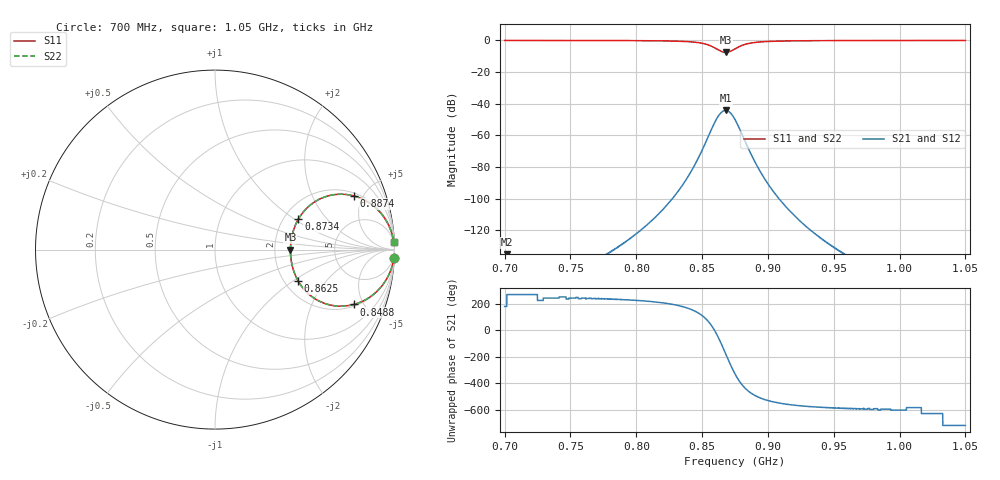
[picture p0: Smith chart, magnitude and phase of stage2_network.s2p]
! Hairpin BPF N=5 fc=868MHz BW=10MHz FR4 — Stage 2 circuit model
! Generated by stage2_final.py
# Hz S RI R 50
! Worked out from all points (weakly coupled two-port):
!   2801 points, 700 MHz to 1.05 GHz, reference 50 ohm
!   highest |S21| = -44.23 dB at 867.9 MHz (marker M1); lowest = -160.0 dB at 701.8 MHz (marker M2)
!   lowest |S11| = -7.5 dB at 868 MHz (marker M3), VSWR 2.45, Z = 123 + j0.00176 ohm
!   |S11| at or under -10 dB: nowhere
!   |S22| runs from -7.5 to 0.0 dB; largest |S21 - S12| = 0
!   S11 on the Smith chart (normalised r, x): 700 MHz: 3, -44; 848.8 MHz: 2.13, -4.24; 862.5 MHz: 2.37, -1.10; 873.4 MHz: 2.39, +1.08; 887.4 MHz: 2.22, +4.27; 1.05 GHz: 4, +49
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7e8  0.9963 -0.0453  -0 -0  -0 -0  0.9963 -0.0453
7.0175e8  0.9963 -0.0459  -0 -1e-08  -0 -1e-08  0.9963 -0.0459
7.58375e8  0.991 -0.0748  -3e-08 -5e-08  -3e-08 -5e-08  0.991 -0.0748
8.1675e8  0.9586 -0.1594  -2.74e-06 -1.67e-06  -2.74e-06 -1.67e-06  0.9586 -0.1594
8.42375e8  0.8542 -0.2702  -7.38e-05 3.5e-05  -7.38e-05 3.5e-05  0.8542 -0.2702
8.4475e8  0.8296 -0.2842  -9.94e-05 7.31e-05  -9.94e-05 7.31e-05  0.8296 -0.2842
8.4875e8  0.7746 -0.3053  -0.000132 0.000227  -0.000132 0.000227  0.7746 -0.3053
8.5625e8  0.6115 -0.3001  0.000864 0.000953  0.000864 0.000953  0.6115 -0.3001
8.625e8  0.4637 -0.1755  0.00221 -0.00354  0.00221 -0.00354  0.4637 -0.1755
8.6525e8  0.4303 -0.0898  -0.00257 -0.00497  -0.00257 -0.00497  0.4303 -0.0898
8.67875e8  0.4203 -0.00409  -0.00613 -0.000307  -0.00613 -0.000307  0.4203 -0.00409
8.68e8  0.4204 5.9e-06  -0.00614 4.4e-07  -0.00614 4.4e-07  0.4204 5.9e-06
8.70625e8  0.431 0.0854  -0.00279 0.00477  -0.00279 0.00477  0.431 0.0854
8.73375e8  0.4647 0.1701  0.00196 0.00359  0.00196 0.00359  0.4647 0.1701
8.75e8  0.4957 0.2139  0.00275 0.00157  0.00275 0.00157  0.4957 0.2139
8.80375e8  0.6295 0.299  0.000645 -0.00085  0.000645 -0.00085  0.6295 0.299
8.87375e8  0.775 0.2987  -0.00011 -0.000219  -0.00011 -0.000219  0.775 0.2987
8.91125e8  0.8256 0.2797  -9.06e-05 -8.05e-05  -9.06e-05 -8.05e-05  0.8256 0.2797
8.93625e8  0.8513 0.2656  -6.8e-05 -3.96e-05  -6.8e-05 -3.96e-05  0.8513 0.2656
9.33375e8  0.972 0.1259  -7.3e-07 5.8e-07  -7.3e-07 5.8e-07  0.972 0.1259
9.9175e8  0.9916 0.0651  -2e-08 3e-08  -2e-08 3e-08  0.9916 0.0651
1.05e9  0.9958 0.0407  -0 0  -0 0  0.9958 0.0407
